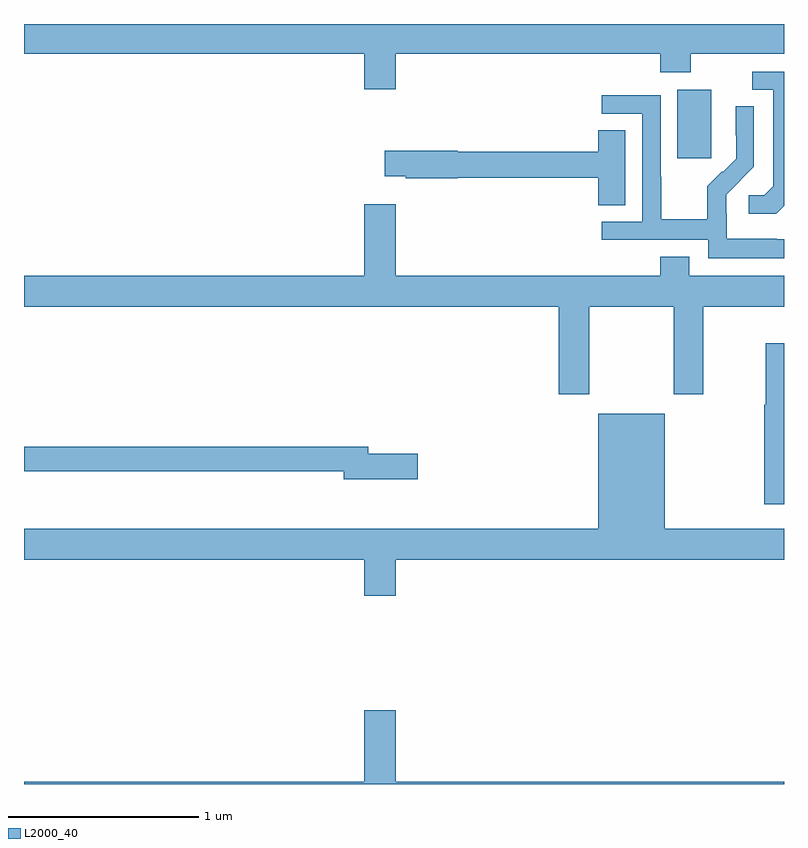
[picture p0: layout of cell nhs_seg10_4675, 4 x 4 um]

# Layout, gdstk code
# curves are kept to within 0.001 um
import gdstk
lib = gdstk.Library(unit=1e-6, precision=1e-09)
def R(c, l, rs):  # rectangles x0, y0, x1, y1
    for r in rs: c.add(gdstk.rectangle(r[:2], r[2:], *l))
def P(c, l, *ps):  # polygons
    for p in ps: c.add(gdstk.Polygon(p, *l))
L2000_40 = (2000, 40)

nhs_seg10_4675 = lib.new_cell('nhs_seg10_4675')
R(nhs_seg10_4675, L2000_40, [(382.439,1271.793,382.618,1272.154)])
P(nhs_seg10_4675, L2000_40, [(380.956,1272.344),(382.349,1272.344),(382.349,1272.245),(382.509,1272.245),(382.509,1272.344),(383,1272.344),(383,1272.5),(379,1272.5),(379,1272.344),(380.792,1272.344),(380.792,1272.156),(380.956,1272.156)],
  [(383,1271.543),(383,1272.249),(382.833,1272.249),(382.833,1272.153),(382.943,1272.153),(382.943,1271.645),(382.896,1271.598),(382.815,1271.598),(382.815,1271.501),(382.958,1271.501)],
  [(383,1271.367),(382.961,1271.367),(382.961,1271.371),(382.698,1271.371),(382.698,1271.505),(382.696,1271.505),(382.696,1271.602),(382.842,1271.75),(382.842,1272.068),(382.746,1272.068),(382.746,1271.914),(382.748,1271.914),(382.748,1271.792),(382.677,1271.721),(382.674,1271.724),(382.597,1271.647),(382.597,1271.473),(382.353,1271.473),(382.353,1271.696),(382.35,1271.696),(382.35,1272.126),(382.041,1272.126),(382.041,1272.027),(382.254,1272.027),(382.254,1271.46),(382.041,1271.46),(382.041,1271.364),(382.602,1271.364),(382.602,1271.267),(383,1271.267)],
  [(382.165,1271.942),(382.022,1271.942),(382.022,1271.828),(381.282,1271.828),(381.282,1271.834),(380.898,1271.834),(380.898,1271.699),(381.01,1271.699),(381.01,1271.687),(381.282,1271.687),(381.282,1271.692),(382.022,1271.692),(382.022,1271.545),(382.165,1271.545)],
  [(381.975,1271.012),(382.42,1271.012),(382.42,1270.551),(382.575,1270.551),(382.575,1271.012),(383,1271.012),(383,1271.176),(382.501,1271.176),(382.501,1271.275),(382.349,1271.275),(382.349,1271.176),(380.956,1271.176),(380.956,1271.551),(380.792,1271.551),(380.792,1271.176),(379,1271.176),(379,1271.012),(381.815,1271.012),(381.815,1270.551),(381.975,1270.551)],
  [(383,1270.819),(382.905,1270.819),(382.905,1270.496),(382.897,1270.496),(382.897,1269.972),(383,1269.972)],
  [(380.956,1269.68),(383,1269.68),(383,1269.844),(382.372,1269.844),(382.372,1270.45),(382.022,1270.45),(382.022,1269.844),(379,1269.844),(379,1269.68),(380.792,1269.68),(380.792,1269.492),(380.956,1269.492)],
  [(381.073,1270.238),(380.812,1270.238),(380.812,1270.274),(379,1270.274),(379,1270.146),(380.684,1270.146),(380.684,1270.103),(381.073,1270.103)],
  [(383,1268.512),(380.956,1268.512),(380.956,1268.887),(380.792,1268.887),(380.792,1268.512),(379,1268.512),(379,1268.5),(383,1268.5)])

lib.write_gds('nhs_seg10_4675.gds')
